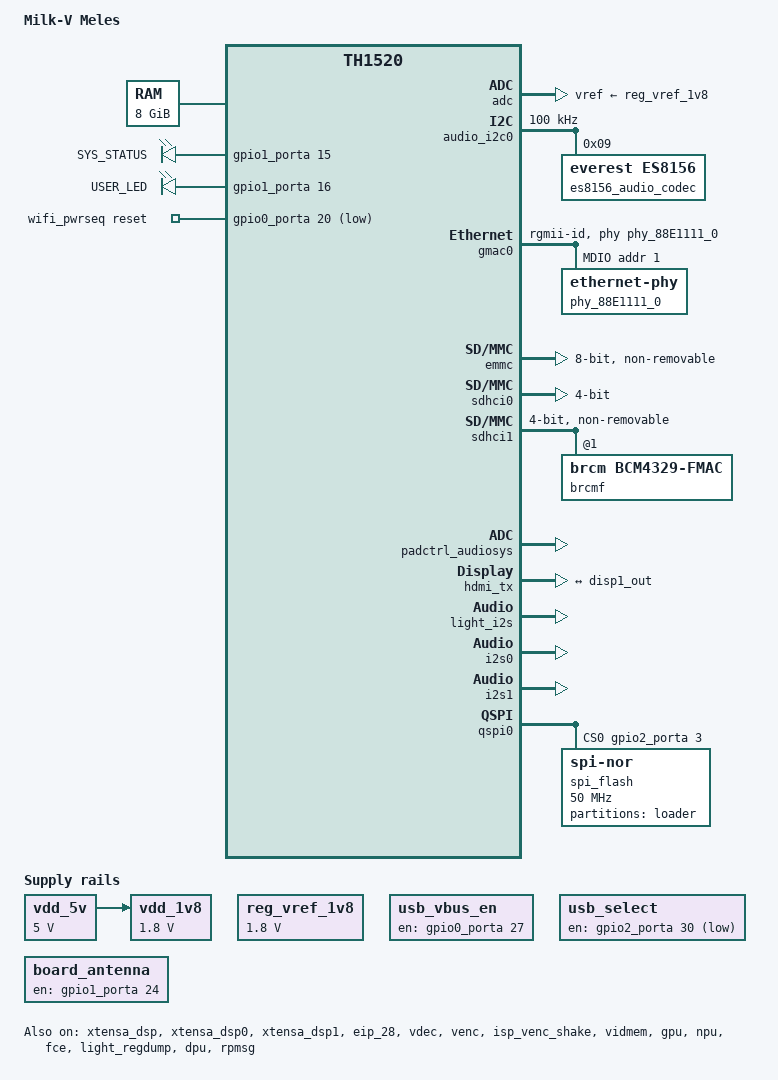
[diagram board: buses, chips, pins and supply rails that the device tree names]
/* SPDX-License-Identifier: GPL-2.0 */
/*
 * Copyright (C) 2021-2022 Alibaba Group Holding Limited.
 */

/dts-v1/;

#include "th1520.dtsi"
#include <dt-bindings/input/linux-event-codes.h>
#include <dt-bindings/gpio/gpio.h>
#include <dt-bindings/interrupt-controller/irq.h>

/ {
	model = "Milk-V Meles";
	compatible = "milkv,meles", "thead,light";

	aliases {
		mmc0 = &emmc;
		mmc1 = &sdhci0;
		mmc2 = &sdhci1;
	};

	chosen {
		bootargs = "console=ttyS0,115200 crashkernel=256M-:128M earlycon clk_ignore_unused sram=0xffe0000000,0x180000";
		stdout-path = "serial0:115200n8";
	};

	memory@0 {
		device_type = "memory";
		reg = <0x0 0x200000 0x1 0xffe00000>;
	};

	display_subsystem: display-subsystem {
		status = "okay";
	};

	leds {
		compatible = "gpio-leds";

		led0 {
			label = "SYS_STATUS";
			gpios = <&gpio1_porta 15 0>;	/* GPIO_ACTIVE_HIGH: 0 */
			default-state = "off";
		};

		led1 {
			label = "USER_LED";
			gpios = <&gpio1_porta 16 0>;	/* GPIO_ACTIVE_HIGH: 0 */
			linux,default-trigger = "heartbeat";
			default-state = "on";
		};
	};

	light_iopmp: iopmp {
		compatible = "thead,light-iopmp";

		/* config#1: multiple valid regions */
		iopmp_emmc: IOPMP_EMMC {
			regions = <0x000000 0x100000>,
				  <0x100000 0x200000>;
			attr = <0xFFFFFFFF>;
			is_default_region;
		};

		/* config#2: iopmp bypass */
		iopmp_sdio0: IOPMP_SDIO0 {
			bypass_en;
		};

		/* config#3: iopmp default region set */
		iopmp_sdio1: IOPMP_SDIO1 {
			attr = <0xFFFFFFFF>;
			is_default_region;
		};

		iopmp_usb0: IOPMP_USB0 {
			attr = <0xFFFFFFFF>;
			is_default_region;
		};

		iopmp_ao: IOPMP_AO {
			is_default_region;
		};

		iopmp_aud: IOPMP_AUD {
			is_default_region;
		};

		iopmp_chip_dbg: IOPMP_CHIP_DBG {
			is_default_region;
		};

		iopmp_eip120i: IOPMP_EIP120I {
			is_default_region;
		};

		iopmp_eip120ii: IOPMP_EIP120II {
			is_default_region;
		};

		iopmp_eip120iii: IOPMP_EIP120III {
			is_default_region;
		};

		iopmp_isp0: IOPMP_ISP0 {
			is_default_region;
		};

		iopmp_isp1: IOPMP_ISP1 {
			is_default_region;
		};

		iopmp_dw200: IOPMP_DW200 {
			is_default_region;
		};

		iopmp_vipre: IOPMP_VIPRE {
			is_default_region;
		};

		iopmp_venc: IOPMP_VENC {
			is_default_region;
		};

		iopmp_vdec: IOPMP_VDEC {
			is_default_region;
		};

		iopmp_g2d: IOPMP_G2D {
			is_default_region;
		};

		iopmp_fce: IOPMP_FCE {
			is_default_region;
		};

		iopmp_npu: IOPMP_NPU {
			is_default_region;
		};

		iopmp0_dpu: IOPMP0_DPU {
			bypass_en;
		};

		iopmp1_dpu: IOPMP1_DPU {
			bypass_en;
		};

		iopmp_gpu: IOPMP_GPU {
			is_default_region;
		};

		iopmp_gmac1: IOPMP_GMAC1 {
			is_default_region;
		};

		iopmp_gmac2: IOPMP_GMAC2 {
			is_default_region;
		};

		iopmp_dmac: IOPMP_DMAC {
			is_default_region;
		};

		iopmp_tee_dmac: IOPMP_TEE_DMAC {
			is_default_region;
		};

		iopmp_dsp0: IOPMP_DSP0 {
			is_default_region;
		};

		iopmp_dsp1: IOPMP_DSP1 {
			is_default_region;
		};
	};

	mbox_910t_client1: mbox_910t_client1 {
		compatible = "thead,light-mbox-client";
		mbox-names = "902";
		mboxes = <&mbox_910t 1 0>;
		status = "disabled";
	};

	mbox_910t_client2: mbox_910t_client2 {
		compatible = "thead,light-mbox-client";
		mbox-names = "906";
		mboxes = <&mbox_910t 2 0>;
		status = "disabled";
	};

	lightsound: lightsound@1 {
		status = "okay";
		compatible = "simple-audio-card";
		simple-audio-card,name = "Light-Sound-Card";
		#address-cells = <1>;
		#size-cells = <0>;

		/* I2S - AUDIO SYS CODEC 8156*/
		simple-audio-card,dai-link@0 {
			reg = <0>;
			format = "i2s";
			cpu {
				sound-dai = <&i2s1 0>;
			};
			codec {
				sound-dai = <&es8156_audio_codec>;
			};
		};

		/* I2S - HDMI */
		simple-audio-card,dai-link@1 {
			reg = <1>;
			format = "i2s";
			cpu {
				sound-dai = <&light_i2s 1>;
			};
			codec {
				sound-dai = <&dummy_codec>;
			};
		};
	};

	light_rpmsg: light_rpmsg {
		compatible = "light,rpmsg-bus", "simple-bus";
		memory-region = <&rpmsgmem>;
		#address-cells = <2>;
		#size-cells = <2>;
		ranges;
		rpmsg: rpmsg{
			vdev-nums = <1>;
            reg = <0x0 0x1E000000 0 0x10000>;
			compatible = "light,light-rpmsg";
			log-memory-region = <&audio_log_mem>;
			status = "okay";
		};
	};

	wifi_pwrseq: wifi-pwrseq {
		status = "okay";
		compatible = "mmc-pwrseq-simple";
		reset-gpios = <&gpio0_porta 20 1>;
		pinctrl-names = "default";
		pinctrl-0 = <&pinctrl_wireless_power>;
	};

	dummy_codec: dummy_codec {
		#sound-dai-cells = <0>;
		compatible = "thead,light-dummy-pcm";
		status = "okay";
		sound-name-prefix = "DUMMY";
	};

	vdd_5v: regulator-vdd-5v {
		compatible = "regulator-fixed";
		regulator-name = "vdd_5v";
		regulator-min-microvolt = <5000000>;
		regulator-max-microvolt = <5000000>;
		regulator-boot-on;
		regulator-always-on;
		status = "okay";
	};

	vdd_1v8: regulator-vdd-1v8 {
		compatible = "regulator-fixed";
		regulator-name = "vdd_1v8";
		regulator-min-microvolt = <1800000>;
		regulator-max-microvolt = <1800000>;
		regulator-boot-on;
		regulator-always-on;
		vin-supply = <&vdd_5v>;
		status = "okay";
	};

	reg_vref_1v8: regulator-adc-verf {
		compatible = "regulator-fixed";
		regulator-name = "vref-1v8";
		regulator-min-microvolt = <1800000>;
		regulator-max-microvolt = <1800000>;
		status = "okay";
	};

	usb_vbus_en: regulator-usb-vbus-en {
		compatible = "regulator-fixed";
		regulator-name = "usb_vbus_en";
		gpio = <&gpio0_porta 27 0>;	/* GPIO_ACTIVE_HIGH: 0 */
		enable-active-high;
		regulator-boot-on;
		regulator-always-on;
		status = "okay";
	};

	/* Select USB3.0 Type-A port */
	usb_select: regulator-usb-select {
		compatible = "regulator-fixed";
		regulator-name = "usb_select";
		gpio = <&gpio2_porta 30 1>;	/* GPIO_ACTIVE_LOW: 1 */
		regulator-boot-on;
		regulator-always-on;
		status = "okay";
	};

	board_antenna: board-antenna {
		status = "okay";
		compatible = "regulator-fixed";
		enable-active-high;
		gpio = <&gpio1_porta 24 0>;
		regulator-always-on;
		regulator-boot-on;
		regulator-name = "board_antenna";
	};

	aon {
		compatible = "thead,light-aon";
		mbox-names = "aon";
		mboxes = <&mbox_910t 1 0>;
		log-memory-region = <&aon_log_mem>;
		status = "okay";

		pd: light-aon-pd {
			compatible = "thead,light-aon-pd";
			#power-domain-cells = <1>;
		};

			dvdd_cpu_reg: appcpu_dvdd {
				compatible = "thead,light-dialog-pmic";
				regulator-name = "appcpu_dvdd";
				regulator-min-microvolt = <300000>;
				regulator-max-microvolt = <1570000>;
				regulator-type = "dvdd";
				regulator-boot-on;
				regulator-always-on;
			};

			dvddm_cpu_reg: appcpu_dvddm {
				compatible = "thead,light-dialog-pmic";
				regulator-name = "appcpu_dvddm";
				regulator-min-microvolt = <300000>;
				regulator-max-microvolt = <1570000>;
				regulator-type = "dvddm";
				regulator-dual-rail;
				regulator-boot-on;
				regulator-always-on;
			};

			soc_dvdd18_aon_reg: soc_dvdd18_aon {
				compatible = "thead,light-dialog-pmic";
				regulator-name = "soc_dvdd18_aon";
				regulator-type = "common";
				regulator-boot-on;
				regulator-always-on;
			};

			soc_avdd33_usb3_reg: soc_avdd33_usb3 {
				compatible = "thead,light-dialog-pmic";
				regulator-name = "soc_avdd33_usb3";
				regulator-type = "common";
				regulator-boot-on;
				regulator-always-on;
			};

			soc_dvdd08_aon_reg: soc_dvdd08_aon {
				compatible = "thead,light-dialog-pmic";
				regulator-name = "soc_dvdd08_aon";
				regulator-type = "common";
				regulator-boot-on;
				regulator-always-on;
			};

			soc_dvdd08_ddr_reg: soc_dvdd08_ddr {
				compatible = "thead,light-dialog-pmic";
				regulator-name = "soc_dvdd08_ddr";
				regulator-type = "common";
				regulator-boot-on;
				regulator-always-on;
			};

			soc_vdd_ddr_1v8_reg: soc_vdd_ddr_1v8 {
				compatible = "thead,light-dialog-pmic";
				regulator-name = "soc_vdd_ddr_1v8";
				regulator-type = "common";
				regulator-boot-on;
				regulator-always-on;
			};

			soc_vdd_ddr_1v1_reg: soc_vdd_ddr_1v1 {
				compatible = "thead,light-dialog-pmic";
				regulator-name = "soc_vdd_ddr_1v1";
				regulator-type = "common";
				regulator-boot-on;
				regulator-always-on;
			};

			soc_vdd_ddr_0v6_reg: soc_vdd_ddr_0v6 {
				compatible = "thead,light-dialog-pmic";
				regulator-name = "soc_vdd_ddr_0v6";
				regulator-type = "common";
				regulator-boot-on;
				regulator-always-on;
			};

			soc_dvdd18_ap_reg: soc_dvdd18_ap {
				compatible = "thead,light-dialog-pmic";
				regulator-name = "soc_dvdd18_ap";
				regulator-type = "common";
				regulator-boot-on;
				regulator-always-on;
			};

			soc_avdd08_mipi_hdmi_reg: soc_avdd08_mipi_hdmi {
				compatible = "thead,light-dialog-pmic";
				regulator-name = "soc_avdd08_mipi_hdmi";
				regulator-type = "common";
				regulator-boot-on;
				regulator-always-on;
			};

			soc_avdd18_mipi_hdmi_reg: soc_avdd18_mipi_hdmi {
				compatible = "thead,light-dialog-pmic";
				regulator-name = "soc_avdd18_mipi_hdmi";
				regulator-type = "common";
				regulator-boot-on;
				regulator-always-on;
			};

			soc_vdd33_emmc_reg: soc_vdd33_emmc {
				compatible = "thead,light-dialog-pmic";
				regulator-name = "soc_dvdd33_emmc";
				regulator-type = "common";
				regulator-boot-on;
				regulator-always-on;
			};

			soc_vdd18_emmc_reg: soc_vdd18_emmc {
				compatible = "thead,light-dialog-pmic";
				regulator-name = "soc_dvdd18_emmc";
				regulator-type = "gpio";
				regulator-boot-on;
				regulator-always-on;
			};

			soc_dovdd18_scan_reg: soc_dovdd18_scan {
				compatible = "thead,light-dialog-pmic";
				regulator-name = "soc_dovdd18_scan";
				regulator-type = "common";
				regulator-min-microvolt = <1800000>;
				regulator-max-microvolt = <1800000>;
				regulator-boot-on;
				regulator-always-on;
			};

			soc_dvdd12_scan_reg: soc_dvdd12_scan {
				compatible = "thead,light-dialog-pmic";
				regulator-name = "soc_dvdd12_scan";
				regulator-type = "common";
				regulator-min-microvolt = <900000>;
				regulator-max-microvolt = <3600000>;
			};

			soc_avdd28_scan_en_reg: soc_avdd28_scan_en {
				compatible = "thead,light-dialog-pmic";
				regulator-name = "soc_avdd28_scan_en";
				regulator-type = "common";
				regulator-min-microvolt = <900000>;
				regulator-max-microvolt = <3600000>;
			};

		c910_cpufreq {
			compatible = "thead,light-mpw-cpufreq";
			status = "okay";
		};

		test: light-aon-test {
			compatible = "thead,light-aon-test";
		};
	};
};

&aon_suspend_ctrl {
	audio-text-memory-region = <&audio_text_mem>;
	status = "okay";
};

&cmamem {
	alloc-ranges = <0 0xe4000000 0 0x14000000>; // [0xE400_0000 ~ 0xF800_0000]
};

&resmem {
	#address-cells = <2>;
	#size-cells = <2>;
	ranges;

	tee_mem: memory@1a000000 {
		reg = <0x0 0x1a000000 0 0x4000000>;
		no-map;
	};
	dsp0_mem: memory@20000000 {			/**0x2000_0000~0x2040_0000 4M**/
		reg = <0x0 0x20000000 0x0 0x00280000	/* DSP FW code&data section 2.5M*/
		       0x0 0x20280000 0x0 0x00001000	/* DSP communication area 4K*/
		       0x0 0x20281000 0x0 0x00007000	/* Panic/log page 28K */
		       0x0 0x20288000 0x0 0x00178000>;	/* DSP shared memory 1.5M-32K*/
		no-map;
	};
	dsp1_mem: memory@20400000 {			/**0x2040_0000~0x2080_0000 4M**/
		reg = <0x0 0x20400000 0x0 0x00280000	/* DSP FW code&data section */
		       0x0 0x20680000 0x0 0x00001000	/* DSP communication area */
		       0x0 0x20681000 0x0 0x00007000	/* Panic/log page*/
		       0x0 0x20688000 0x0 0x00178000>;	/* DSP shared memory */
		no-map;
	};
	vi_mem: framebuffer@0f800000 {
		reg = <0x0 0x0F800000 0x0 0x05400000	/* vi_mem_pool_region[0]  84 MB (default) */
		       0x0 0x14C00000 0x0 0x01D00000	/* vi_mem_pool_region[1]  29 MB */
		       0x0 0x16900000 0x0 0x03200000>;	/* vi_mem_pool_region[2]  50 MB */
		no-map;
	};
	facelib_mem: memory@22000000 {
		reg = <0x0 0x22000000 0x0 0x10000000>;
		no-map;
	};
	audio_text_mem: memory@32000000 {
		reg = <0x0 0x32000000 0x0 0xE00000>;
		//no-map;
    };
    audio_data_mem: memory@32E00000 {
		reg = <0x0 0x32E00000 0x0 0x600000>;
		//no-map;
    };
	audio_log_mem: memory@33400000 {
        reg = <0x0 0x33400000 0x0 0x200000>;
	};
	aon_log_mem: memory@33600000 {
        reg = <0x0 0x33600000 0x0 0x200000>;
	};
	regdump_mem: memory@38400000 {
		reg = <0x0 0x38400000 0x0 0x1E00000>;
		no-map;
	};
	rpmsgmem: memory@1E000000 {
		reg = <0x0 0x1E000000 0x0 0x10000>;
	};
};

&adc {
	vref-supply = <&reg_vref_1v8>;
	status = "okay";
};

&pwm {
	pinctrl-names = "default";
	pinctrl-0 = <&pinctrl_pwm>;
};

&i2c0 {
	clock-frequency = <400000>;
	status = "disabled";
};

&i2c1 {
	clock-frequency = <400000>;
	status = "disabled";
};

&audio_i2c0 {
	clock-frequency = <100000>;
	status = "okay";

	es8156_audio_codec: es8156@9 {
		#sound-dai-cells = <0>;
		compatible = "everest,es8156";
		reg = <0x09>;
		pinctrl-names = "default";
		pinctrl-0 = <&pinctrl_audio_i2s1_mclk>;
	};
};

&uart0 {
	clock-frequency = <100000000>;
};

&gmac0 {
	phy-mode = "rgmii-id";
	rx-clk-delay = <0x00>; /* for RGMII */
	tx-clk-delay = <0x00>; /* for RGMII */
	phy-handle = <&phy_88E1111_0>;
	status = "okay";

	mdio0 {
		#address-cells = <1>;
		#size-cells = <0>;
		compatible = "snps,dwmac-mdio";

		phy_88E1111_0: ethernet-phy@0 {
			reg = <0x1>;
		};
	};
};

&gmac1 {
	status = "disabled";
};

&emmc {
	max-frequency = <198000000>;
	non-removable;
	mmc-hs400-1_8v;
	io_fixed_1v8;
	is_emmc;
	no-sdio;
	no-sd;
	pull_up;
	bus-width = <8>;
	status = "okay";
};

&sdhci0 {
	max-frequency = <198000000>;
	bus-width = <4>;
	pull_up;
	wprtn_ignore;
	status = "okay";
};

&sdhci1 {
	status = "okay";
	max-frequency = <198000000>;
	bus-width = <4>;
	pull_up;
	no-sd;
	no-mmc;
	non-removable;
	io_fixed_1v8;
	post-power-on-delay-ms = <50>;
	wprtn_ignore;
	cap-sd-highspeed;
	keep-power-in-suspend;
	mmc-pwrseq = <&wifi_pwrseq>;
	#address-cells = <1>;
	#size-cells = <0>;

	brcmf: wifi@1 {
		compatible = "brcm,bcm4329-fmac";
		reg = <1>;
	};
};

&padctrl0_apsys { /* right-pinctrl */
	light-evb-padctrl0 {
		/*
		 * Pin Configuration Node:
		 * Format: <pin_id mux_node config>
		 */
		pinctrl_uart0: uart0grp {
			thead,pins = <
				FM_UART0_TXD	0x0	0x72
				FM_UART0_RXD	0x0	0x72
			>;
		};

		pinctrl_spi0: spi0grp {
			thead,pins = <
				FM_SPI_CSN	0x3	0x20a
				FM_SPI_SCLK	0x0	0x20a
				FM_SPI_MISO	0x0	0x23a
				FM_SPI_MOSI	0x0	0x23a
			>;
		};

		pinctrl_qspi0: qspi0grp {
			thead,pins = <
				FM_QSPI0_SCLK	0x0	0x20f
				FM_QSPI0_CSN0	0x3	0x20f
				FM_QSPI0_D0_MOSI	0x0	0x23f
				FM_QSPI0_D1_MISO	0x0	0x23f
			>;
		};

		pinctrl_pwm: pwmgrp {
			thead,pins = <
				FM_QSPI0_D2_WP  0x1     0x208   /* pwm5 */
				FM_QSPI0_CSN1   0x1     0x208   /* pwm2 */
			>;
		};
	};
};

&padctrl1_apsys { /* left-pinctrl */
	light-evb-padctrl1 {
		/*
		 * Pin Configuration Node:
		 * Format: <pin_id mux_node config>
		 */
		pinctrl_uart3: uart3grp {
			thead,pins = <
				FM_UART3_TXD	0x0	0x72
				FM_UART3_RXD	0x0	0x72
			>;
		};

		pinctrl_uart4: uart4grp {
			thead,pins = <
				FM_UART4_TXD	0x0	0x72
				FM_UART4_RXD	0x0	0x72
				FM_UART4_CTSN	0x0	0x72
				FM_UART4_RTSN	0x0	0x72
			>;
		};

		pinctrl_qspi1: qspi1grp {
			thead,pins = <
				FM_QSPI1_SCLK	0x0	0x20a
				FM_QSPI1_CSN0	0x3	0x20a
				FM_QSPI1_D0_MOSI	0x0	0x23a
				FM_QSPI1_D1_MISO	0x0	0x23a
				FM_QSPI1_D2_WP	0x0	0x23a
				FM_QSPI1_D3_HOLD	0x0	0x23a
			>;
		};

		pinctrl_iso7816: iso7816grp {
			thead,pins = <
				FM_QSPI1_SCLK	0x1	0x208
				FM_QSPI1_D0_MOSI	0x1	0x238
				FM_QSPI1_D1_MISO	0x1	0x238
				FM_QSPI1_D2_WP	0x1	0x238
				FM_QSPI1_D3_HOLD	0x1	0x238
			>;
		};

		pinctrl_wireless_power: wireless-power-group {
			thead,pins = <
				FM_GPIO0_20	0x0	0x23a
			>;
		};

		pinctrl_wireless_host_wake: wireless-host-wake-group {
			thead,pins = <
				FM_GPIO0_21	0x0	0x21a
			>;
		};
	};
};

&padctrl_aosys {
	light-aon-padctrl {
		/*
		 * Pin Configuration Node:
		 * Format: <pin_id mux_node config>
		 */

		pinctrl_audiopa1: audiopa1_grp {
			thead,pins = <
				FM_AUDIO_PA1	0x3	0x72
			>;
		};

		pinctrl_audiopa2: audiopa2_grp {
			thead,pins = <
				FM_AUDIO_PA2	0x0	0x72
			>;
		};

		pinctrl_volume: volume_grp {
			thead,pins = <
				FM_CPU_JTG_TDI	0x3	0x208
				FM_CPU_JTG_TDO	0x3	0x208
			>;
		};
	};
};

&padctrl_audiosys {
	status = "okay";

	light-audio-padctrl {
		/*
		 * Pin Configuration Node:
		 * Format: <pin_id mux_node config>
		 */

		pinctrl_audio_i2s1_mclk: audio_i2s1_mclk_grp {
			thead,pins = <
				FM_AUDIO_IO_PA13	0x0	0x20a
			>;
		};
	};
};

&xtensa_dsp {
	status = "okay";
};

&xtensa_dsp0 {
	status = "okay";
	memory-region = <&dsp0_mem>;
};

&xtensa_dsp1{
	status = "okay";
	memory-region = <&dsp1_mem>;
};

&trng {
	status = "disabled";
};

&eip_28 {
	status = "okay";
};

&vdec {
	status = "okay";
};

&venc {
	status = "okay";
};

&isp_venc_shake {
	status = "okay";
};

&vidmem {
	status = "okay";
	memory-region = <&vi_mem>;
};

&gpu {
	status = "okay";
};

&npu {
	vha_clk_rate = <1000000000>;
	status = "okay";
};

&fce {
	memory-region = <&facelib_mem>;
	status = "okay";
};

&light_regdump {
	memory-region = <&regdump_mem>;
	status = "okay";
};

&cpus {
	c910_0: cpu@0 {
		operating-points = <
			/* kHz    uV */
			300000	650000
			800000	700000
			1500000	800000
			1848000	1000000
		>;
		light,dvddm-operating-points = <
			/* kHz   uV */
			300000	800000
			800000	800000
			1500000	800000
			1848000	1000000
		>;
	};

	c910_1: cpu@1 {
		operating-points = <
			/* kHz    uV */
			300000	650000
			800000	700000
			1500000	800000
			1848000	1000000
		>;
		light,dvddm-operating-points = <
			/* kHz   uV */
			300000	800000
			800000	800000
			1500000	800000
			1848000	1000000
		>;
	};

	c910_2: cpu@2 {
		operating-points = <
			/* kHz    uV */
			300000	650000
			800000	700000
			1500000	800000
			1848000	1000000
		>;
		light,dvddm-operating-points = <
			/* kHz   uV */
			300000	800000
			800000	800000
			1500000	800000
			1848000	1000000
		>;
	};

	c910_3: cpu@3 {
		operating-points = <
			/* kHz    uV */
			300000	650000
			800000	700000
			1500000	800000
			1848000	1000000
		>;
		light,dvddm-operating-points = <
			/* kHz   uV */
			300000	800000
			800000	800000
			1500000	800000
			1848000	1000000
		>;
	};
};

&dpu {
	status = "okay";
};

&npu_opp_table {
	opp-1000000000 {
		opp-suspend;
	};
};

/* DP1 --- HDMI0 */
&dpu_enc1 {
	status = "disabled";
	ports {
		/delete-node/ port@0;
	};
};

&disp1_out {
	remote-endpoint = <&hdmi_tx_in>;
};

&hdmi_tx {
	status = "okay";

	port@0 {
		/* input */
		hdmi_tx_in: endpoint {
			remote-endpoint = <&disp1_out>;
		};
	};
};

&light_i2s {
	status = "okay";
	/delete-property/ pinctrl-names;
	/delete-property/ pinctrl-0;
};

&i2s0 {
	status = "okay";
};

&i2s1 {
	status = "okay";
};

&qspi0 {
	status = "okay";
	num-cs = <1>;
	cs-gpios = <&gpio2_porta 3 0>; // GPIO_ACTIVE_HIGH: 0

	spi_flash: spi-flash@0 {
		#address-cells = <1>;
		#size-cells = <0>;
		compatible = "jedec,spi-nor";
		reg = <0x0>;
		spi-max-frequency = <50000000>;
		spi-tx-bus-width = <1>;
		spi-rx-bus-width = <1>;
		status = "okay";

		partitions {
			compatible = "fixed-partitions";
			#address-cells = <1>;
			#size-cells = <1>;

			loader@0 {
				label = "loader";
				reg = <0x0 0x800000>;
			};
		};
	};
};

&qspi1 {
	status = "disabled";
};
